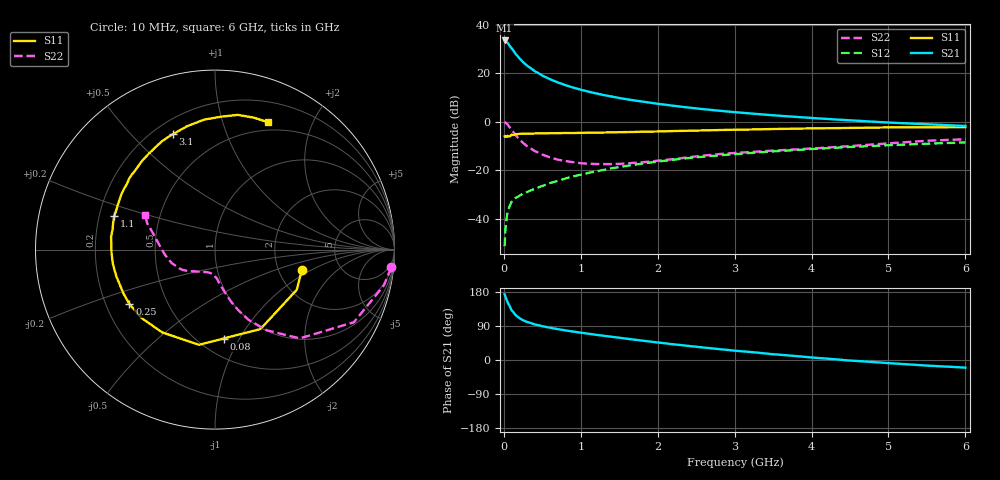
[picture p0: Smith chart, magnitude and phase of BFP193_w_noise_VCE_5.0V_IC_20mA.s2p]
! (c) 2017  Infineon Technologies AG, Munich
! Infineon Technologies  Discrete & RF Semiconductors
! BFP193
! VCE =  5.0 V,  IC =  20 mA
! Common Emitter S-Parameters:  Jan 2017
# GHz  S  MA  R  50
!  f  S11  S21  S12  S22
! GHz  MAG  ANG  MAG  ANG  MAG  ANG  MAG  ANG
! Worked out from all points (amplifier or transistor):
!   77 points, 10 MHz to 6 GHz, reference 50 ohm
!   highest |S21| = 33.5 dB at 10 MHz (marker M1)
!   |S21| within 3 dB of that: start of sweep to 95.75 MHz
!   unconditionally stable (mu >= 1): 868.4 MHz to 2.524 GHz
!   at 130 MHz: K = 0.38, MSG = 30.6 dB, |S12| = -32.1 dB
!   at 2.2 GHz: K = 1.02, MAG = 10.4 dB, |S12| = -15.8 dB
!   at 6 GHz: K = 0.90, MSG = 3.4 dB, |S12| = -8.6 dB
!   lowest NFmin = 1.05 dB at 450 MHz
!   S11 on the Smith chart (normalised r, x): 10 MHz: 2.70, -0.81; 80 MHz: 0.65, -0.86; 250 MHz: 0.30, -0.27; 1.1 GHz: 0.26, +0.15; 3.1 GHz: 0.27, +0.66; 6 GHz: 0.41, +1.41
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0.01  0.497 -13.1  47.26 173.6  0.0027 84.5  0.9868 -5.8
0.02  0.5075 -26.2  47.01 167.7  0.0058 91.7  0.9621 -11.9
0.05  0.5099 -60.2  42.06 151.1  0.0141 68.8  0.8735 -27.6
0.08  0.4977 -84.5  36 140.5  0.0188 61.2  0.7499 -37.7
0.1  0.538 -99.5  32.84 131.4  0.0221 58.0  0.6842 -46.3
0.15  0.5472 -122.6  25.43 119.0  0.0265 52.5  0.5347 -57.3
0.2  0.5592 -137.1  20.43 110.9  0.0294 50.6  0.4343 -64.4
0.25  0.5651 -147.5  16.92 104.8  0.0329 51.2  0.3641 -68.8
0.3  0.5654 -154.5  14.36 100.6  0.0353 51.5  0.3137 -72.2
0.4  0.5696 -164.8  11.05 94.0  0.0411 53.7  0.2487 -76.7
0.5  0.5747 -172.2  8.922 89.2  0.0471 55.9  0.2092 -80.2
0.6  0.5768 -178.2  7.503 85.1  0.054 57.5  0.1833 -83.4
0.7  0.5784 177.1  6.45 81.6  0.0598 59.0  0.1645 -85.7
0.9  0.5815 168.8  5.04 75.0  0.0741 59.7  0.1459 -91.7
1.1  0.5916 161.7  4.158 69.4  0.0877 60.0  0.1357 -97.3
1.5  0.606 149.3  3.076 58.8  0.1156 58.0  0.1345 -111.5
2.1  0.6324 132.3  2.23 44.0  0.1564 52.7  0.1621 -131.3
2.6  0.659 120.5  1.805 32.8  0.1896 47.5  0.1996 -144.1
3.1  0.6841 110.2  1.523 22.9  0.2195 42.0  0.2307 -155.0
4.1  0.7289 93.2  1.164 5.1  0.2769 31.1  0.2856 -176.4
5.1  0.7614 79.1  0.942 -9.5  0.3308 20.0  0.3655 163.9
6  0.7683 67.6  0.814 -20.2  0.3735 9.9  0.4334 154.0
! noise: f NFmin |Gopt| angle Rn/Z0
0.45  1.05  0.27  180  0.07
0.9  1.13  0.36  -178  0.07
1.9  1.76  0.56  -140  0.15
2.4  2.1  0.62  -124  0.34
